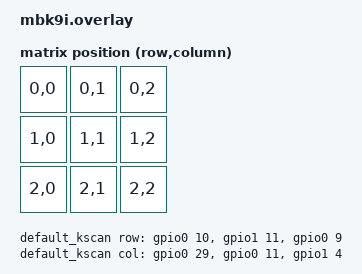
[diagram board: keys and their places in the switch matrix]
#include <dt-bindings/zmk/matrix_transform.h>

/{
    chosen {
        zmk,kscan = &default_kscan;
        zmk,matrix_transform = &default_transform;
    };

    default_kscan: kscan {

        compatible = "zmk,kscan-gpio-matrix";
        diode-direction = "col2row";
        wakeup-source;

        row-gpios = <&gpio0 10 (GPIO_ACTIVE_HIGH | GPIO_PULL_DOWN)>,
                    <&gpio1 11 (GPIO_ACTIVE_HIGH | GPIO_PULL_DOWN)>,
                    <&gpio0 9 (GPIO_ACTIVE_HIGH | GPIO_PULL_DOWN)>;

        col-gpios = <&gpio0 29 GPIO_ACTIVE_HIGH>,
                    <&gpio0 11 GPIO_ACTIVE_HIGH>,
                    <&gpio1 4 GPIO_ACTIVE_HIGH>;
    };

    default_transform: matrix_transform {
        compatible = "zmk,matrix-transform";
        rows = <3>;
        columns = <3>;

        map = <
            RC(0,0) RC(0,1) RC(0,2)
            RC(1,0) RC(1,1) RC(1,2)
            RC(2,0) RC(2,1) RC(2,2)
            >;

    
    };

};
